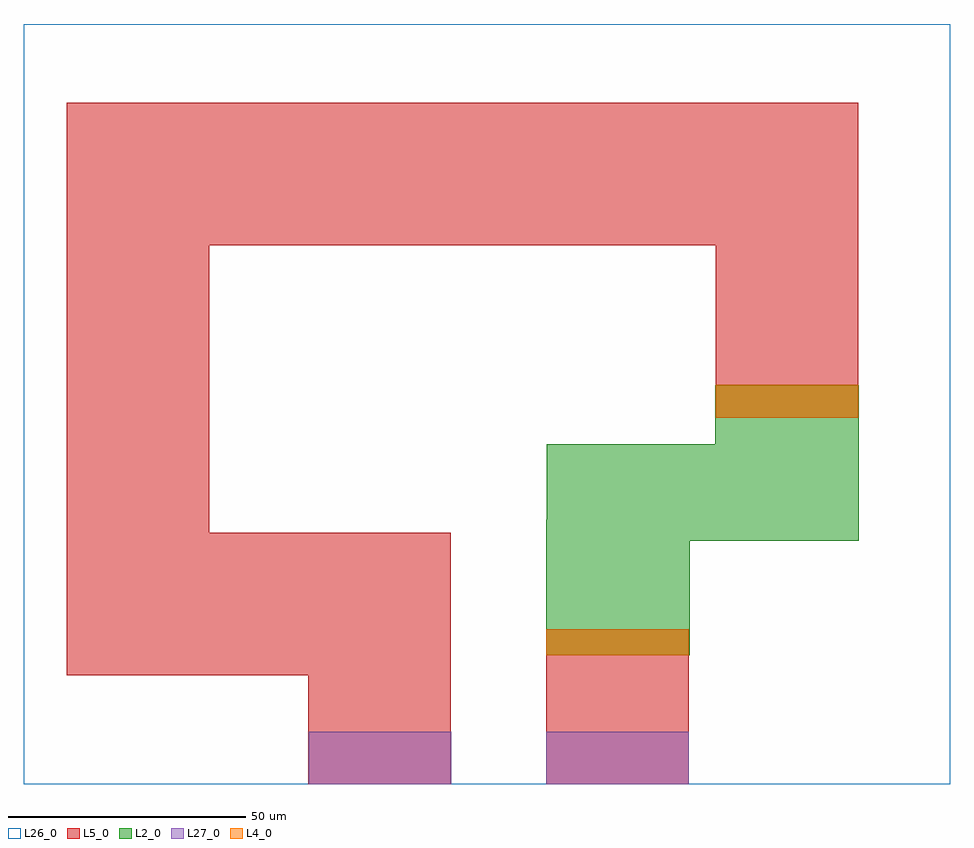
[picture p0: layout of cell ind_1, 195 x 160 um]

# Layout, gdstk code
import gdstk
lib = gdstk.Library(unit=1e-6, precision=5e-10)
def R(c, l, rs):  # rectangles x0, y0, x1, y1
    for r in rs: c.add(gdstk.rectangle(r[:2], r[2:], *l))
L2_0 = (2, 0)
L4_0 = (4, 0)
L5_0 = (5, 0)
L26_0 = (26, 0)
L27_0 = (27, 0)

ind_1 = lib.new_cell('ind_1')
R(ind_1, L2_0, [(10,27.1,40.2,55.6), (10.1,51.2,75.8,71.5), (45.6,55.5,75.8,84)])
R(ind_1, L4_0, [(10,27.1,40,32.6), (45.7,77.1,75.7,84.1)])
R(ind_1, L5_0, [(-40,0,-10.3,7.4), (10.1,0,39.6,7)])
R(ind_1, L26_0, [(-100,0,95,160)])
R(ind_1, L27_0, [(-40,0,-10,11), (10,0,40,11)])
ind_1.add(gdstk.FlexPath([(25,0),(25,32.6)], 30, ends="flush", simple_path=True, layer=5, datatype=0))  # L5_0
ind_1.add(gdstk.FlexPath([(-25.1,0),(-25.1,37.9),(-76,37.9),(-76,128.4),(60.7,128.4),(60.7,77.1)], 30, ends="flush", simple_path=True, layer=5, datatype=0))  # L5_0

lib.write_gds('ind_1.gds')
